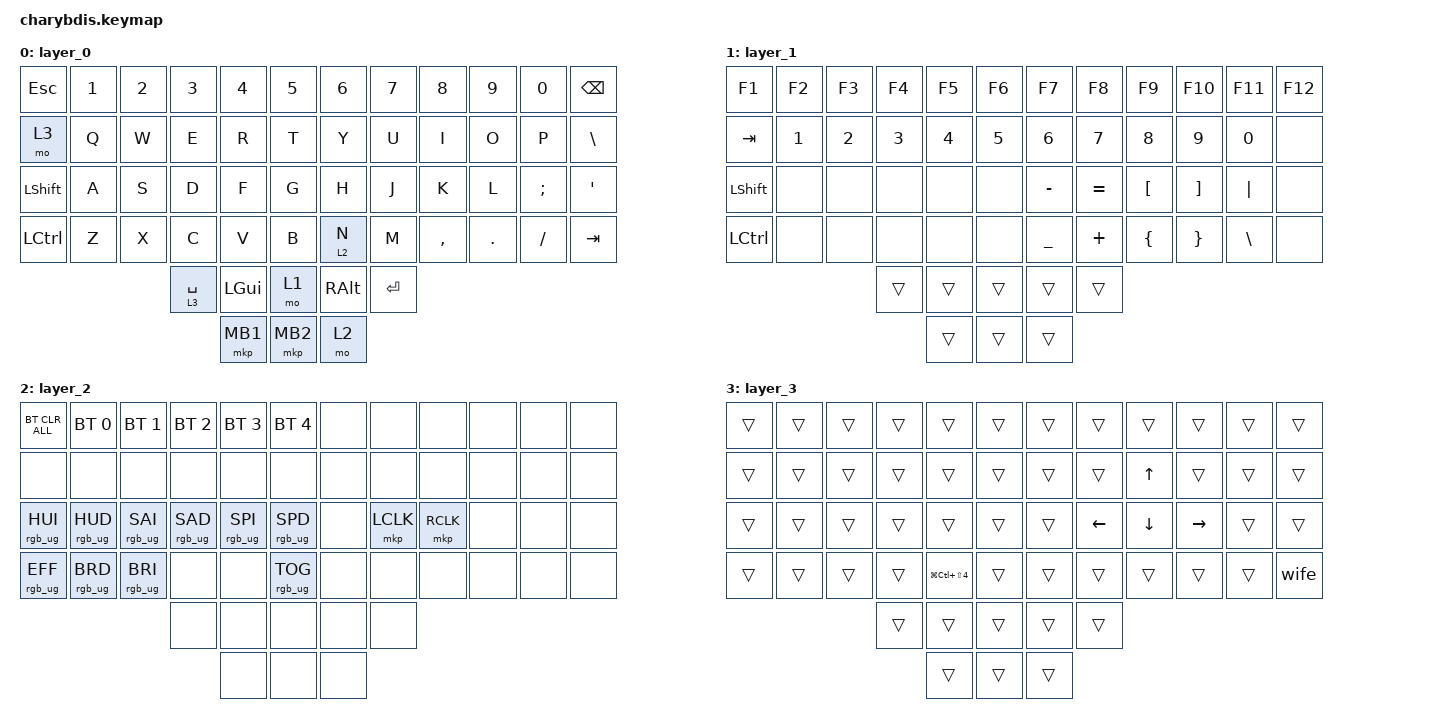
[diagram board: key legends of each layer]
#include <behaviors.dtsi>
#include <dt-bindings/zmk/bt.h>
#include <dt-bindings/zmk/keys.h>
#include <dt-bindings/zmk/pointing.h>
#include <dt-bindings/zmk/rgb.h>

&lt {
    tapping-term-ms = <200>;
    flavor = "balanced";
    quick-tap-ms = <150>;
};

/ {
    macros {
        To1_macro: To1_macro {
            compatible = "zmk,behavior-macro";
            label = "To1_macro";
            #binding-cells = <0>;
            bindings = <&rgb_ug RGB_EFF &rgb_ug RGB_COLOR_HSB(128,100,50) &to 1>;
        };

        To1_macro_A: To1_macro_A {
            compatible = "zmk,behavior-macro";
            label = "To1_macro_A";
            #binding-cells = <0>;
            bindings = <&rgb_ug RGB_COLOR_HSB(128,100,50) &to 1>;
        };

        To0_macro: To0_macro {
            compatible = "zmk,behavior-macro";
            label = "To0_macro";
            #binding-cells = <0>;
            bindings = <&rgb_ug RGB_EFR &to 0>;
        };

        To2_macro_A: To2_macro_A {
            compatible = "zmk,behavior-macro";
            label = "To2_macro_A";
            #binding-cells = <0>;
            bindings = <&rgb_ug RGB_COLOR_HSB(250,100,50) &to 2>;
        };

        To2_macro: To2_macro {
            compatible = "zmk,behavior-macro";
            label = "To2_macro";
            #binding-cells = <0>;
            bindings = <&rgb_ug RGB_EFF &rgb_ug RGB_COLOR_HSB(250,100,50) &to 2>;
        };

        wife: wife {
            compatible = "zmk,behavior-macro";
            #binding-cells = <0>;
            bindings = <&kp W &kp I &kp F &kp E &kp I &kp S &kp LS(Y) &kp I &kp N &kp G &kp H &kp U &kp I &kp LS(L) &kp I>;
            label = "WIFE";
        };
    };

    combos {
        compatible = "zmk,combos";

        left_reset {
            bindings = <&bootloader>;
            key-positions = <0 1>;
        };

        right-reset {
            bindings = <&bootloader>;
            key-positions = <10 11>;
        };
    };

    keymap {
        compatible = "zmk,keymap";

        layer_0 {
            bindings = <
&kp ESC         &kp N1  &kp N2  &kp N3       &kp N4        &kp N5      &kp N6         &kp N7     &kp N8     &kp N9   &kp N0    &kp BACKSPACE
&mo 3           &kp Q   &kp W   &kp E        &kp R         &kp T       &kp Y          &kp U      &kp I      &kp O    &kp P     &kp BSLH
&kp LEFT_SHIFT  &kp A   &kp S   &kp D        &kp F         &kp G       &kp H          &kp J      &kp K      &kp L    &kp SEMI  &kp APOS
&kp LCTRL       &kp Z   &kp X   &kp C        &kp V         &kp B       &lt 2 N        &kp M      &kp COMMA  &kp DOT  &kp FSLH  &kp TAB
                                &lt 3 SPACE  &kp LEFT_GUI  &mo 1       &kp RIGHT_ALT  &kp ENTER
                                             &mkp MB1      &mkp MB2    &mo 2
            >;
        };

        layer_1 {
            bindings = <
&kp F1          &kp F2        &kp F3        &kp F4        &kp F5        &kp F6          &kp F7          &kp F8        &kp F9          &kp F10          &kp F11       &kp F12
&kp TAB         &kp NUMBER_1  &kp NUMBER_2  &kp NUMBER_3  &kp NUMBER_4  &kp NUMBER_5    &kp NUMBER_6    &kp NUMBER_7  &kp NUMBER_8    &kp NUMBER_9     &kp NUMBER_0  &none
&kp LEFT_SHIFT  &none         &none         &none         &none         &none           &kp MINUS       &kp EQUAL     &kp LBKT        &kp RBKT         &kp PIPE      &none
&kp LCTRL       &none         &none         &none         &none         &none           &kp UNDERSCORE  &kp PLUS      &kp LEFT_BRACE  &kp RIGHT_BRACE  &kp BSLH      &none
                                            &trans        &trans        &trans          &trans          &trans
                                                          &trans        &trans          &trans
            >;
        };

        layer_2 {
            bindings = <
&bt BT_CLR_ALL   &bt BT_SEL 0     &bt BT_SEL 1     &bt BT_SEL 2     &bt BT_SEL 3     &bt BT_SEL 4       &none  &none      &none      &none  &none  &none
&none            &none            &none            &none            &none            &none              &none  &none      &none      &none  &none  &none
&rgb_ug RGB_HUI  &rgb_ug RGB_HUD  &rgb_ug RGB_SAI  &rgb_ug RGB_SAD  &rgb_ug RGB_SPI  &rgb_ug RGB_SPD    &none  &mkp LCLK  &mkp RCLK  &none  &none  &none
&rgb_ug RGB_EFF  &rgb_ug RGB_BRD  &rgb_ug RGB_BRI  &none            &none            &rgb_ug RGB_TOG    &none  &none      &none      &none  &none  &none
                                                   &none            &none            &none              &none  &none
                                                                    &none            &none              &none
            >;
        };

        layer_3 {
            bindings = <
&trans  &trans  &trans  &trans  &trans                    &trans    &trans  &trans          &trans          &trans           &trans  &trans
&trans  &trans  &trans  &trans  &trans                    &trans    &trans  &trans          &kp UP_ARROW    &trans           &trans  &trans
&trans  &trans  &trans  &trans  &trans                    &trans    &trans  &kp LEFT_ARROW  &kp DOWN_ARROW  &kp RIGHT_ARROW  &trans  &trans
&trans  &trans  &trans  &trans  &kp LG(LC(LS(NUMBER_4)))  &trans    &trans  &trans          &trans          &trans           &trans  &wife
                        &trans  &trans                    &trans    &trans  &trans
                                &trans                    &trans    &trans
            >;
        };

        /* layer_2 {
            bindings = <
&none  &none   &none    &none   &none         &none         &kp N1         &none         &none     &none  &none   &to 0
&none  &none   &none    &none   &none         &none         &none         &none          &rgb_ug RGB_BRD &rgb_ug RGB_BRI  &rgb_ug RGB_EFF   &rgb_ug RGB_TOG
&none  &none   &none    &none   &none         &none         &none         &mkp LCLK     &mkp RCLK  &none  &none   &none
&none  &none   &none    &none   &bt BT_NXT  &bt BT_CLR    &none         &none         &none     &none  &none   &none
                                   &none         &none         &none         &none         &none
                                                 &none         &none         &none
            >;
       
            
        };

       Mouse {
            bindings = <
&none        &none         &none         &none         &none      &none         &none       &none      &none         &none         &none         &none
&none        &bt BT_SEL 0  &bt BT_SEL 1  &bt BT_SEL 3  &none      &bt BT_CLR    &bt BT_CLR  &none      &bt BT_SEL 2  &bt BT_SEL 1  &bt BT_SEL 0  &none
&none        &trans        &trans        &mkp MCLK     &trans     &none         &none       &trans     &mkp MCLK     &trans        &trans        &none
&bootloader  &trans        &mkp RCLK     &mo 4         &mkp LCLK  &mo 5         &mo 5       &mkp LCLK  &mo 4         &mkp RCLK     &trans        &bootloader
                                         &mo 5         &mkp LCLK  &mkp RCLK     &mkp RCLK   &mkp LCLK
                                                       &none      &trans        &trans
            >;

            
        };

        layer_4 {
            bindings = <
&trans  &trans  &trans     &trans     &trans     &trans       &trans     &trans     &trans     &trans     &trans  &trans
&trans  &trans  &trans     &trans     &trans     &trans       &trans     &trans     &trans     &trans     &trans  &trans
&trans  &trans  &trans     &mkp MCLK  &trans     &trans       &trans     &trans     &mkp MCLK  &trans     &trans  &trans
&trans  &trans  &mkp RCLK  &trans     &mkp LCLK  &trans       &trans     &mkp LCLK  &trans     &mkp RCLK  &trans  &trans
                           &trans     &mkp LCLK  &mkp RCLK    &mkp RCLK  &mkp LCLK
                                      &trans     &trans       &trans
            >;
                
                
               
        };

        layer_5 {
            bindings = <
&trans  &trans  &trans     &trans     &trans     &trans       &trans     &trans     &trans     &trans     &trans  &trans
&trans  &trans  &trans     &trans     &trans     &trans       &trans     &trans     &trans     &trans     &trans  &trans
&trans  &trans  &trans     &mkp MCLK  &trans     &trans       &trans     &trans     &mkp MCLK  &trans     &trans  &trans
&trans  &trans  &mkp RCLK  &trans     &mkp LCLK  &trans       &trans     &mkp LCLK  &trans     &mkp RCLK  &trans  &trans
                           &trans     &mkp LCLK  &mkp RCLK    &mkp RCLK  &mkp LCLK
                                      &trans     &trans       &trans
            >;
                
                
        };*/
    };
};
